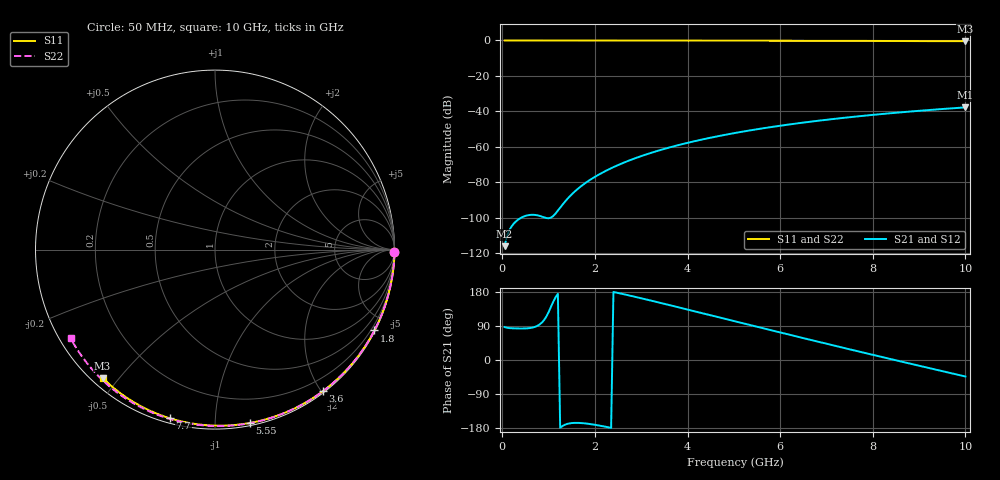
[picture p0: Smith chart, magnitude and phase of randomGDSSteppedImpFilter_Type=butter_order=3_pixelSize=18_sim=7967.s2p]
! freq	dB(S11)	phase(S11)	dB(S12)	phase(S12)
!  dB(S21)	phase(S21)	dB(S22)	phase(S22)
!S-par simulation data
#  GHz  S  DB  R 50
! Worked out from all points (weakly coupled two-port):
!   200 points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, 50 MHz to 10 GHz, reference 50 ohm
!   highest |S21| = -37.80 dB at 10 GHz (marker M1); lowest = -116.2 dB at 50 MHz (marker M2)
!   lowest |S11| = -0.4 dB at 10 GHz (marker M3), VSWR 39.22, Z = 1.54 - j22.6 ohm
!   |S11| at or under -10 dB: nowhere
!   |S22| runs from -0.5 to 0.0 dB; largest |S21 - S12| = 0
!   S11 on the Smith chart (normalised r, x): 50 MHz: open; 1.8 GHz: 0.04, -4.18; 3.6 GHz: 0.02, -2.02; 5.55 GHz: 0.02, -1.22; 7.7 GHz: 0.02, -0.77; 10 GHz: 0.03, -0.45
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0.05  -0.00 -0.8  -116.19 86.9  -116.19 86.9  -0.00 -0.9
0.45  -0.01 -6.8  -99.58 83.1  -99.58 83.1  -0.01 -7.7
0.9  -0.02 -13.6  -99.90 105.0  -99.90 105.0  -0.02 -15.3
1.3  -0.02 -19.5  -92.72 -174.2  -92.72 -174.2  -0.03 -22.0
1.75  -0.03 -26.2  -81.37 -166.9  -81.37 -166.9  -0.04 -29.5
1.8  -0.03 -26.9  -80.42 -167.5  -80.42 -167.5  -0.04 -30.3
1.85  -0.04 -27.6  -79.52 -168.2  -79.52 -168.2  -0.04 -31.2
2.05  -0.04 -30.6  -76.26 -172.0  -76.26 -172.0  -0.04 -34.4
2.2  -0.04 -32.7  -74.12 -175.4  -74.12 -175.4  -0.05 -36.9
2.55  -0.05 -37.8  -69.82 175.6  -69.82 175.6  -0.05 -42.6
2.95  -0.06 -43.5  -65.78 164.4  -65.78 164.4  -0.06 -49.0
3.4  -0.07 -49.8  -61.99 151.2  -61.99 151.2  -0.07 -56.1
3.6  -0.07 -52.6  -60.50 145.2  -60.50 145.2  -0.08 -59.2
4.3  -0.09 -62.2  -56.02 124.1  -56.02 124.1  -0.10 -69.9
5.05  -0.11 -72.1  -52.14 101.3  -52.14 101.3  -0.12 -81.0
5.55  -0.13 -78.6  -49.94 86.2  -49.94 86.2  -0.14 -88.2
6.1  -0.15 -85.5  -47.79 69.7  -47.79 69.7  -0.17 -96.0
6.7  -0.18 -92.9  -45.73 51.8  -45.73 51.8  -0.20 -104.3
7.7  -0.24 -104.9  -42.81 22.4  -42.81 22.4  -0.27 -117.8
8.35  -0.29 -112.5  -41.18 3.5  -41.18 3.5  -0.33 -126.5
9.2  -0.36 -122.2  -39.32 -20.8  -39.32 -20.8  -0.41 -137.8
10  -0.44 -131.2  -37.80 -43.5  -37.80 -43.5  -0.50 -148.4
